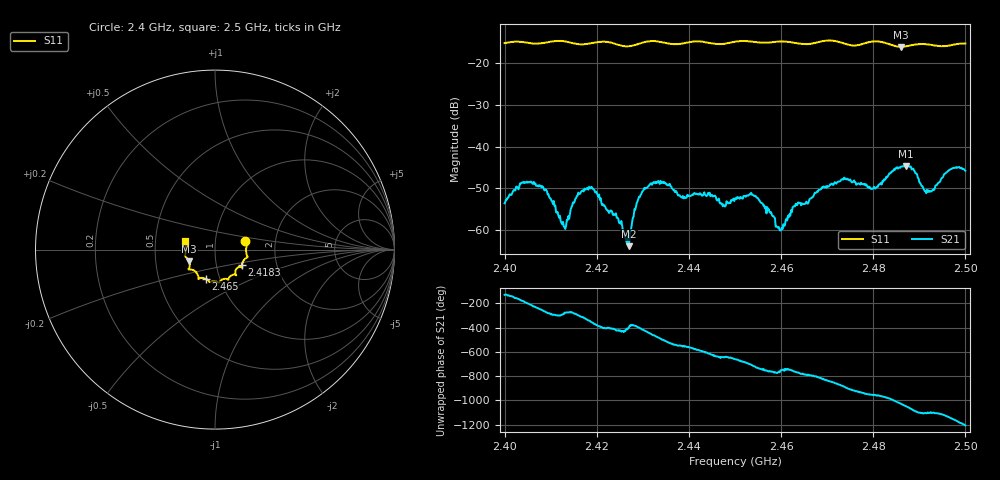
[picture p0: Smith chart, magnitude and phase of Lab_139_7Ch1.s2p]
# Hz S RI R 50
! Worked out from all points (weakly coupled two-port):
!   601 points, 2.4 GHz to 2.5 GHz, reference 50 ohm
!   highest |S21| = -44.65 dB at 2.4872 GHz (marker M1); lowest = -63.9 dB at 2.427 GHz (marker M2)
!   lowest |S11| = -16.0 dB at 2.486 GHz (marker M3), VSWR 1.37, Z = 37.2 - j5.01 ohm
!   |S11| at or under -10 dB: start of sweep to end of sweep
!   S12 and S22 are empty: the file has one direction only
!   S11 on the Smith chart (normalised r, x): 2.4 GHz: 1.40, +0.13; 2.4183 GHz: 1.33, -0.24; 2.465 GHz: 0.86, -0.29; 2.5 GHz: 0.71, +0.07
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2.4e9  0.1693 0.0458  -0.0013 -0.00163  0 0  0 0
2.406167e9  0.173 0.00703  -0.00254 0.00249  0 0  0 0
2.408667e9  0.1754 -0.0238  -0.00024 0.00296  0 0  0 0
2.412833e9  0.1794 -0.0436  0.000346 0.00104  0 0  0 0
2.416667e9  0.155 -0.0685  0.0019 0.0022  0 0  0 0
2.418333e9  0.1497 -0.0869  0.0031 0.0011  0 0  0 0
2.427e9  0.1183 -0.1088  0.000517 -0.000369  0 0  0 0
2.4295e9  0.113 -0.1333  0.00178 -0.00191  0 0  0 0
2.433333e9  0.1167 -0.1412  -0.00202 -0.00329  0 0  0 0
2.438833e9  0.0782 -0.1558  -0.00235 0.000397  0 0  0 0
2.45e9  0.0252 -0.1806  0.00118 0.00207  0 0  0 0
2.454e9  0.0139 -0.1809  0.00259 0.000172  0 0  0 0
2.459833e9  -0.0273 -0.1813  0.000778 -0.000593  0 0  0 0
2.465e9  -0.0528 -0.1621  0.00088 -0.00184  0 0  0 0
2.466667e9  -0.0714 -0.1575  0.000555 -0.00238  0 0  0 0
2.4735e9  -0.0936 -0.1475  -0.00383 -0.00119  0 0  0 0
2.48e9  -0.147 -0.1103  -0.00176 0.00258  0 0  0 0
2.483333e9  -0.1418 -0.0957  -0.000611 0.00453  0 0  0 0
2.486e9  -0.1435 -0.0657  0.00352 0.00453  0 0  0 0
2.487167e9  -0.1512 -0.0541  0.00504 0.00297  0 0  0 0
2.491667e9  -0.167 -0.0296  0.00273 -0.00129  0 0  0 0
2.5e9  -0.1666 0.0472  -0.00306 -0.0041  0 0  0 0
